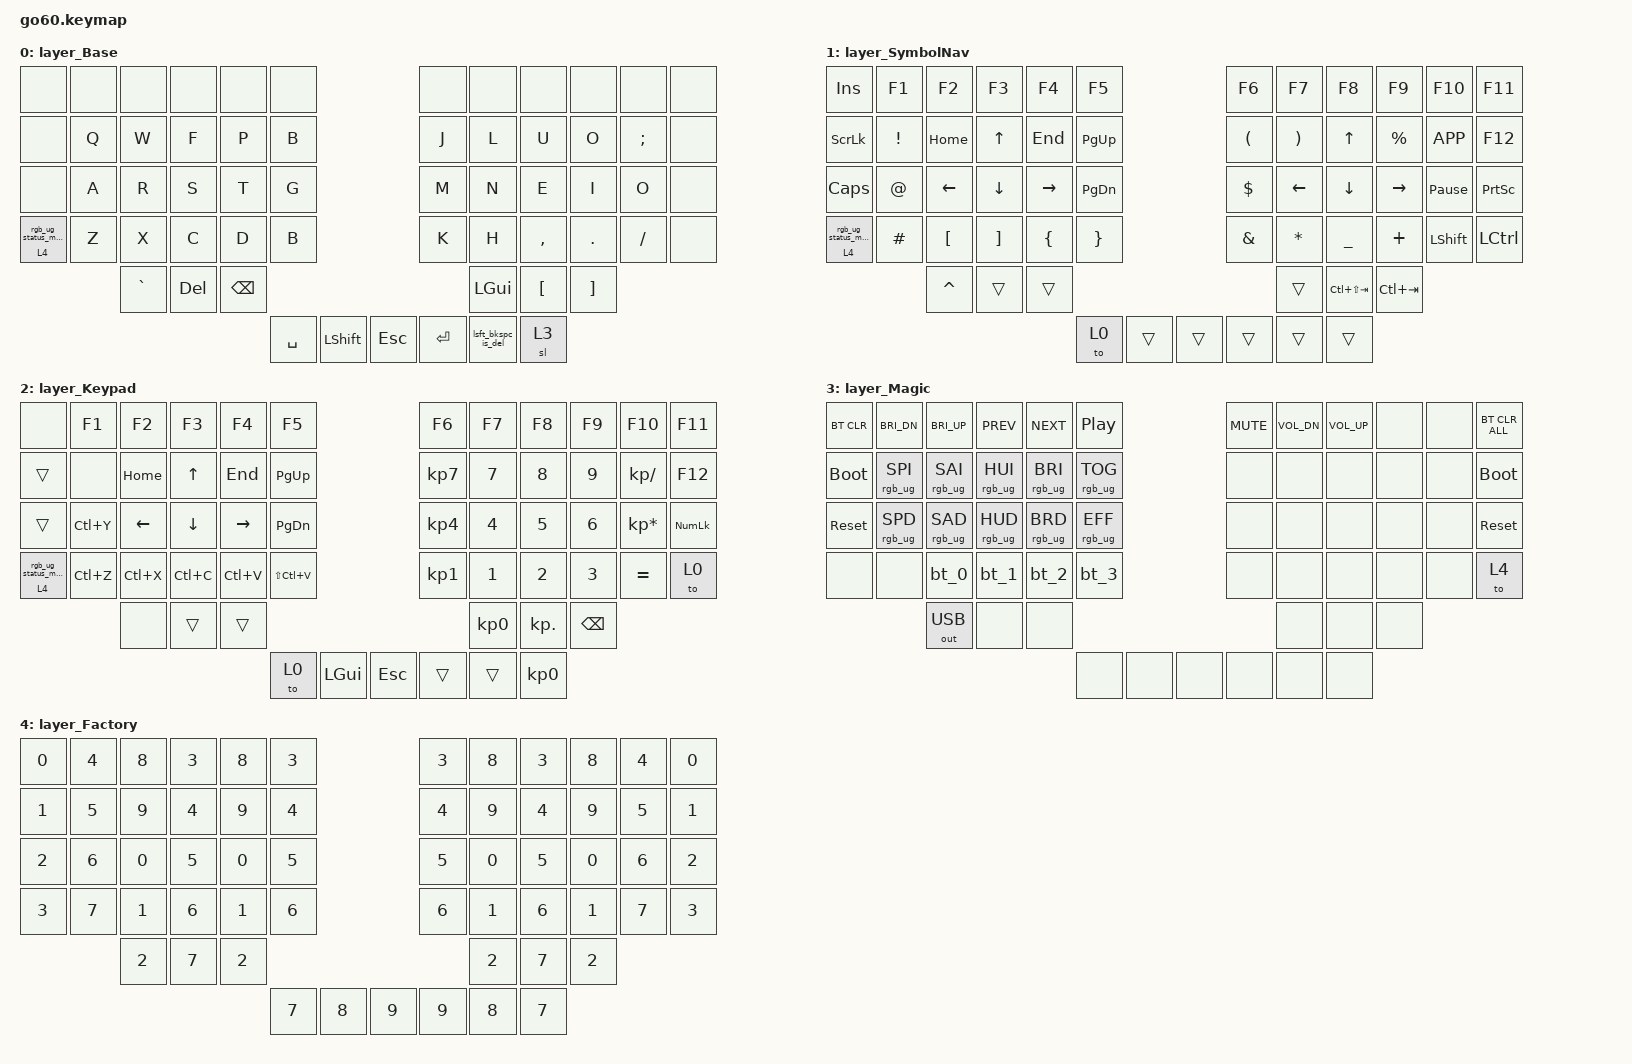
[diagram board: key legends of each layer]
/*
 * Copyright (c) 2020 The ZMK Contributors
 *
 * SPDX-License-Identifier: MIT
 */

#include <dt-bindings/zmk/input_transform.h>
#include <input/processors.dtsi>
#include <zephyr/dt-bindings/input/input-event-codes.h>
#include <behaviors.dtsi>
#include <dt-bindings/zmk/bt.h>
#include <dt-bindings/zmk/keys.h>
#include <dt-bindings/zmk/outputs.h>
#include <dt-bindings/zmk/rgb.h>

// layers

#define LAYER_Base 0
#define LAYER_Keypad 1
#define LAYER_SymbolNav 2
#define LAYER_Magic 3
#define LAYER_Factory 4

/ {
    input_processors {
        zip_click_to_right_click_mapper: zip_click_to_right_click_mapper {
            compatible = "zmk,input-processor-code-mapper";
            #input-processor-cells = <0>;
            type = <INPUT_EV_KEY>;
            map = <INPUT_BTN_0 INPUT_BTN_1>;
        };
    };

    behaviors {
        magic: magic {
            compatible = "zmk,behavior-hold-tap";
            #binding-cells = <2>;
            flavor = "tap-preferred";
            tapping-term-ms = <200>;
            bindings = <&mo>, <&rgb_ug_status_macro>;
        };

        keypad_td: keypad_td {
            compatible = "zmk,behavior-tap-dance";
            #binding-cells = <0>;
            tapping-term-ms = <200>;
            bindings = <&mo 3>, <&to 3>;
        };

        symbol_nav_td: symbol_nav_td {
            compatible = "zmk,behavior-tap-dance";
            #binding-cells = <0>;
            tapping-term-ms = <200>;
            bindings = <&mo 1>, <&to 1>;
        };

        bt_0: bt_0 {
            compatible = "zmk,behavior-tap-dance";
            #binding-cells = <0>;
            tapping-term-ms = <200>;
            bindings = <&bt_select_0>, <&bt BT_DISC 0>;
        };

        bt_1: bt_1 {
            compatible = "zmk,behavior-tap-dance";
            #binding-cells = <0>;
            tapping-term-ms = <200>;
            bindings = <&bt_select_1>, <&bt BT_DISC 1>;
        };

        bt_2: bt_2 {
            compatible = "zmk,behavior-tap-dance";
            #binding-cells = <0>;
            tapping-term-ms = <200>;
            bindings = <&bt_select_2>, <&bt BT_DISC 2>;
        };

        bt_3: bt_3 {
            compatible = "zmk,behavior-tap-dance";
            #binding-cells = <0>;
            tapping-term-ms = <200>;
            bindings = <&bt_select_3>, <&bt BT_DISC 3>;
        };

        lsft_bkspc_is_del: lsft_bkspc_is_del {
            compatible = "zmk,behavior-mod-morph";
            label = "LSFT_BKSPC_IS_DEL";
            bindings = <&kp BACKSPACE>, <&kp DEL>;

            #binding-cells = <0>;
            mods = <(MOD_LSFT)>;
        };
    };

    macros {
        rgb_ug_status_macro: rgb_ug_status_macro {
            compatible = "zmk,behavior-macro";
            #binding-cells = <0>;
            bindings = <&rgb_ug RGB_STATUS>;
        };

        bt_select_0: bt_select_0 {
            compatible = "zmk,behavior-macro";
            #binding-cells = <0>;
            bindings = <&out OUT_BLE &bt BT_SEL 0>;
        };

        bt_select_1: bt_select_1 {
            compatible = "zmk,behavior-macro";
            #binding-cells = <0>;
            bindings = <&out OUT_BLE &bt BT_SEL 1>;
        };

        bt_select_2: bt_select_2 {
            compatible = "zmk,behavior-macro";
            #binding-cells = <0>;
            bindings = <&out OUT_BLE &bt BT_SEL 2>;
        };

        bt_select_3: bt_select_3 {
            compatible = "zmk,behavior-macro";
            #binding-cells = <0>;
            bindings = <&out OUT_BLE &bt BT_SEL 3>;
        };
    };

    keymap {
        compatible = "zmk,keymap";

        layer_Base {
            bindings = <
&none       &none  &none      &none    &none     &none                                                                          &none  &none     &none      &none     &none          &none
&none       &kp Q  &kp W      &kp F    &kp P     &kp B                                                                          &kp J  &kp L     &kp U      &kp O     &kp SEMICOLON  &none
&none       &kp A  &kp R      &kp S    &kp T     &kp G                                                                          &kp M  &kp N     &kp E      &kp I     &kp O          &none
&magic 4 0  &kp Z  &kp X      &kp C    &kp D     &kp B                                                                          &kp K  &kp H     &kp COMMA  &kp DOT   &kp FSLH       &none
                   &kp GRAVE  &kp DEL  &kp BSPC                                                                                        &kp LGUI  &kp LBKT   &kp RBKT
                                                        &kp SPACE  &kp LSHFT  &kp ESCAPE  &kp ENTER  &lsft_bkspc_is_del  &sl 3
            >;
        };

        layer_SymbolNav {
            bindings = <
&kp INS     &kp F1    &kp F2     &kp F3    &kp F4     &kp F5                                                    &kp F6    &kp F7    &kp F8           &kp F9       &kp F10          &kp F11
&kp SLCK    &kp EXCL  &kp HOME   &kp UP    &kp END    &kp PG_UP                                                 &kp LPAR  &kp RPAR  &kp UP           &kp PRCNT    &kp K_APP        &kp F12
&kp CAPS    &kp AT    &kp LEFT   &kp DOWN  &kp RIGHT  &kp PG_DN                                                 &kp DLLR  &kp LEFT  &kp DOWN         &kp RIGHT    &kp PAUSE_BREAK  &kp PSCRN
&magic 4 0  &kp HASH  &kp LBKT   &kp RBKT  &kp LBRC   &kp RBRC                                                  &kp AMPS  &kp STAR  &kp UNDER        &kp PLUS     &kp LSHFT        &kp LCTRL
                      &kp CARET  &trans    &trans                                                                         &trans    &kp LC(LS(TAB))  &kp LC(TAB)
                                                                 &to 0  &trans  &trans  &trans  &trans  &trans
            >;
        };

        layer_Keypad {
            bindings = <
&none       &kp F1     &kp F2     &kp F3     &kp F4     &kp F5                                                                     &kp F6     &kp F7        &kp F8        &kp F9        &kp F10          &kp F11
&trans      &none      &kp HOME   &kp UP     &kp END    &kp PG_UP                                                                  &kp KP_N7  &kp N7        &kp N8        &kp N9        &kp KP_SLASH     &kp F12
&trans      &kp LC(Y)  &kp LEFT   &kp DOWN   &kp RIGHT  &kp PG_DN                                                                  &kp KP_N4  &kp NUMBER_4  &kp N5        &kp NUMBER_6  &kp KP_MULTIPLY  &kp KP_NUM
&magic 4 0  &kp LC(Z)  &kp LC(X)  &kp LC(C)  &kp LC(V)  &kp LS(LC(V))                                                              &kp KP_N1  &kp NUMBER_1  &kp NUMBER_2  &kp NUMBER_3  &kp EQUAL        &to 0
                       &none      &trans     &trans                                                                                           &kp KP_N0     &kp KP_DOT    &kp BSPC
                                                                       &to 0  &kp LEFT_GUI  &kp ESCAPE  &trans  &trans  &kp KP_N0
            >;
        };

        layer_Magic {
            bindings = <
&bt BT_CLR   &kp C_BRI_DN     &kp C_BRI_UP     &kp C_PREV       &kp C_NEXT       &kp C_PP                                                   &kp C_MUTE  &kp C_VOL_DN  &kp C_VOL_UP  &none  &none  &bt BT_CLR_ALL
&bootloader  &rgb_ug RGB_SPI  &rgb_ug RGB_SAI  &rgb_ug RGB_HUI  &rgb_ug RGB_BRI  &rgb_ug RGB_TOG                                            &none       &none         &none         &none  &none  &bootloader
&sys_reset   &rgb_ug RGB_SPD  &rgb_ug RGB_SAD  &rgb_ug RGB_HUD  &rgb_ug RGB_BRD  &rgb_ug RGB_EFF                                            &none       &none         &none         &none  &none  &sys_reset
&none        &none            &bt_0            &bt_1            &bt_2            &bt_3                                                      &none       &none         &none         &none  &none  &to 4
                              &out OUT_USB     &none            &none                                                                                   &none         &none         &none
                                                                                                  &none  &none  &none  &none  &none  &none
            >;
        };

        layer_Factory {
            bindings = <
&kp N0  &kp N4  &kp N8  &kp N3  &kp N8  &kp N3                                                  &kp N3  &kp N8  &kp N3  &kp N8  &kp N4  &kp N0
&kp N1  &kp N5  &kp N9  &kp N4  &kp N9  &kp N4                                                  &kp N4  &kp N9  &kp N4  &kp N9  &kp N5  &kp N1
&kp N2  &kp N6  &kp N0  &kp N5  &kp N0  &kp N5                                                  &kp N5  &kp N0  &kp N5  &kp N0  &kp N6  &kp N2
&kp N3  &kp N7  &kp N1  &kp N6  &kp N1  &kp N6                                                  &kp N6  &kp N1  &kp N6  &kp N1  &kp N7  &kp N3
                &kp N2  &kp N7  &kp N2                                                                  &kp N2  &kp N7  &kp N2
                                                &kp N7  &kp N8  &kp N9  &kp N9  &kp N8  &kp N7
            >;
        };
    };
};

&cirque_rh_listener {
    input-processors = <&zip_xy_scaler 3 1>;

    layer_2 {
        layers = <2>;
        input-processors = <&zip_xy_scaler 9 1>;
    };
};

&cirque_lh_listener {
    input-processors =
        <&zip_xy_to_scroll_mapper>,
        <&zip_xy_scaler 1 8>,
        <&zip_click_to_right_click_mapper>;

    layer_4 {
        layers = <4>;
        input-processors = <&zip_xy_scaler 3 1>;
    };
};
